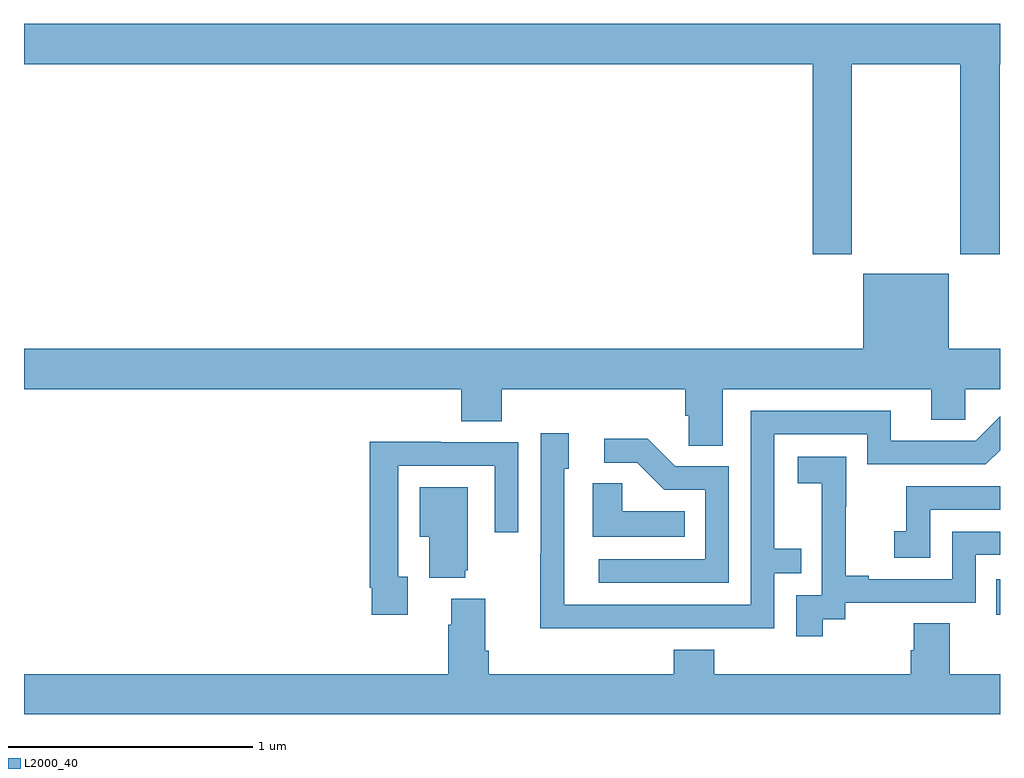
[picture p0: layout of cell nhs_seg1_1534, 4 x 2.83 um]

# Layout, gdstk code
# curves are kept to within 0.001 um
import gdstk
lib = gdstk.Library(unit=1e-6, precision=1e-09)
def R(c, l, rs):  # rectangles x0, y0, x1, y1
    for r in rs: c.add(gdstk.rectangle(r[:2], r[2:], *l))
def P(c, l, *ps):  # polygons
    for p in ps: c.add(gdstk.Polygon(p, *l))
L2000_40 = (2000, 40)

nhs_seg1_1534 = lib.new_cell('nhs_seg1_1534')
R(nhs_seg1_1534, L2000_40, [(198.985,517.506,199,517.653)])
P(nhs_seg1_1534, L2000_40, [(198.393,519.764),(198.838,519.764),(198.838,518.985),(198.998,518.985),(198.998,519.764),(199,519.764),(199,519.928),(195,519.928),(195,519.764),(198.233,519.764),(198.233,518.985),(198.393,518.985)],
  [(197.863,518.432),(198.719,518.432),(198.719,518.305),(198.858,518.305),(198.858,518.432),(199,518.432),(199,518.596),(198.79,518.596),(198.79,518.905),(198.44,518.905),(198.44,518.596),(195,518.596),(195,518.432),(196.793,518.432),(196.793,518.299),(196.958,518.299),(196.958,518.432),(197.711,518.432),(197.711,518.323),(197.724,518.323),(197.724,518.2),(197.863,518.2)],
  [(197.579,517.452),(198.075,517.452),(198.075,517.677),(198.185,517.677),(198.185,517.778),(198.075,517.778),(198.075,518.247),(198.456,518.247),(198.456,518.124),(198.942,518.124),(199,518.182),(199,518.32),(198.9,518.22),(198.553,518.22),(198.553,518.343),(197.979,518.343),(197.979,517.548),(197.214,517.548),(197.214,518.106),(197.233,518.106),(197.233,518.251),(197.118,518.251),(197.118,517.757),(197.116,517.757),(197.116,517.451)],
  [(197.889,518.115),(197.67,518.115),(197.557,518.228),(197.379,518.228),(197.379,518.13),(197.513,518.13),(197.624,518.019),(197.793,518.019),(197.793,517.734),(197.355,517.734),(197.355,517.638),(197.889,517.638)],
  [(196.573,517.662),(196.533,517.662),(196.533,518.118),(196.929,518.118),(196.929,517.845),(197.025,517.845),(197.025,518.214),(196.709,518.214),(196.709,518.216),(196.417,518.216),(196.417,517.618),(196.425,517.618),(196.425,517.506),(196.573,517.506)],
  [(198.274,517.489),(198.366,517.489),(198.366,517.557),(198.9,517.557),(198.9,517.752),(199,517.752),(199,517.848),(198.804,517.848),(198.804,517.653),(198.463,517.653),(198.463,517.666),(198.368,517.666),(198.368,517.949),(198.369,517.949),(198.369,518.155),(198.171,518.155),(198.171,518.045),(198.269,518.045),(198.269,517.817),(198.27,517.817),(198.27,517.587),(198.165,517.587),(198.165,517.419),(198.274,517.419)],
  [(197.708,517.93),(197.451,517.93),(197.451,518.045),(197.33,518.045),(197.33,517.826),(197.708,517.826)],
  [(198.714,517.938),(199,517.938),(199,518.034),(198.616,518.034),(198.616,517.849),(198.567,517.849),(198.567,517.74),(198.714,517.74)],
  [(196.808,517.689),(196.819,517.689),(196.819,518.029),(196.622,518.029),(196.622,517.826),(196.661,517.826),(196.661,517.658),(196.808,517.658)],
  [(199,517.264),(198.795,517.264),(198.795,517.472),(198.647,517.472),(198.647,517.362),(198.635,517.362),(198.635,517.264),(197.828,517.264),(197.828,517.363),(197.663,517.363),(197.663,517.264),(196.904,517.264),(196.904,517.36),(196.891,517.36),(196.891,517.573),(196.751,517.573),(196.751,517.466),(196.739,517.466),(196.739,517.264),(195,517.264),(195,517.1),(199,517.1)])

lib.write_gds('nhs_seg1_1534.gds')
